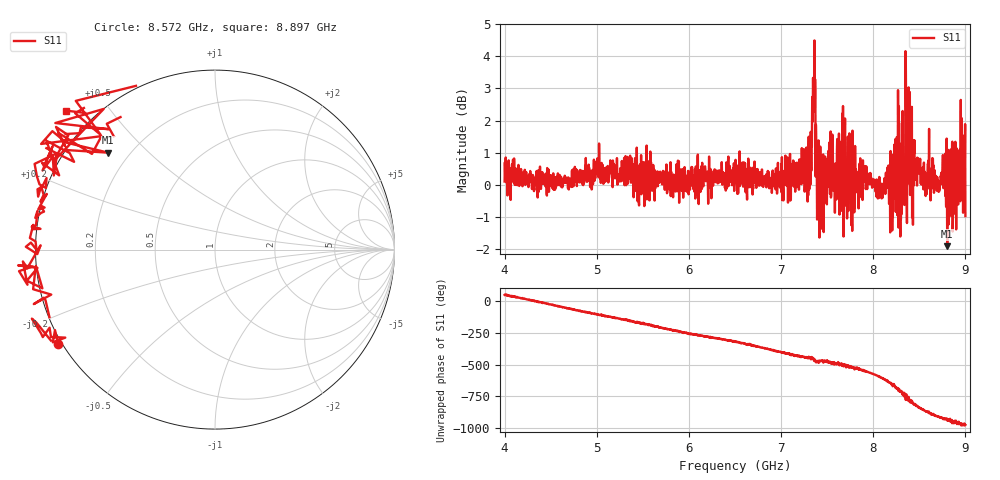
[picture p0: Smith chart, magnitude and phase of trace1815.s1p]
! Created with skrf 1.8.0 (http://scikit-rf.org).
# Hz S RI R 50.0
!freq ReS11 ImS11
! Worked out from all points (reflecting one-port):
!   1601 points, 4 GHz to 9 GHz, reference 50 ohm
!   lowest |S11| = -1.9 dB at 8.803 GHz (marker M1), VSWR 9.15, Z = 6.27 + j19.1 ohm
!   phase of S11 starts at 51 deg and turns -1028 deg over the sweep
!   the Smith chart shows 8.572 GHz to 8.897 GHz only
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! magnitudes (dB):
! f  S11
! 4 GHz  0.1
! 4.625 GHz  -0.1
! 5.003 GHz  0.5
! 5.25 GHz  0.1
! 5.875 GHz  0.2
! 6.5 GHz  0.2
! 7.125 GHz  0.0
! 7.294 GHz  -0.3
! 7.356 GHz  2.8
! 7.381 GHz  1.4
! 7.397 GHz  0.2
! 7.438 GHz  -0.3
! 7.538 GHz  1.7
! 7.609 GHz  1.4
! 7.669 GHz  0.5
! 7.75 GHz  0.2
! 8.106 GHz  -0.2
! 8.228 GHz  1.2
! 8.262 GHz  -0.9
! 8.316 GHz  -0.4
! 8.334 GHz  0.3
! 8.347 GHz  1.0
! 8.375 GHz  0.3
! 8.384 GHz  3.0
! 8.447 GHz  1.4
! 8.803 GHz  -1.9
! 8.972 GHz  1.2
! 9 GHz  -1.0
